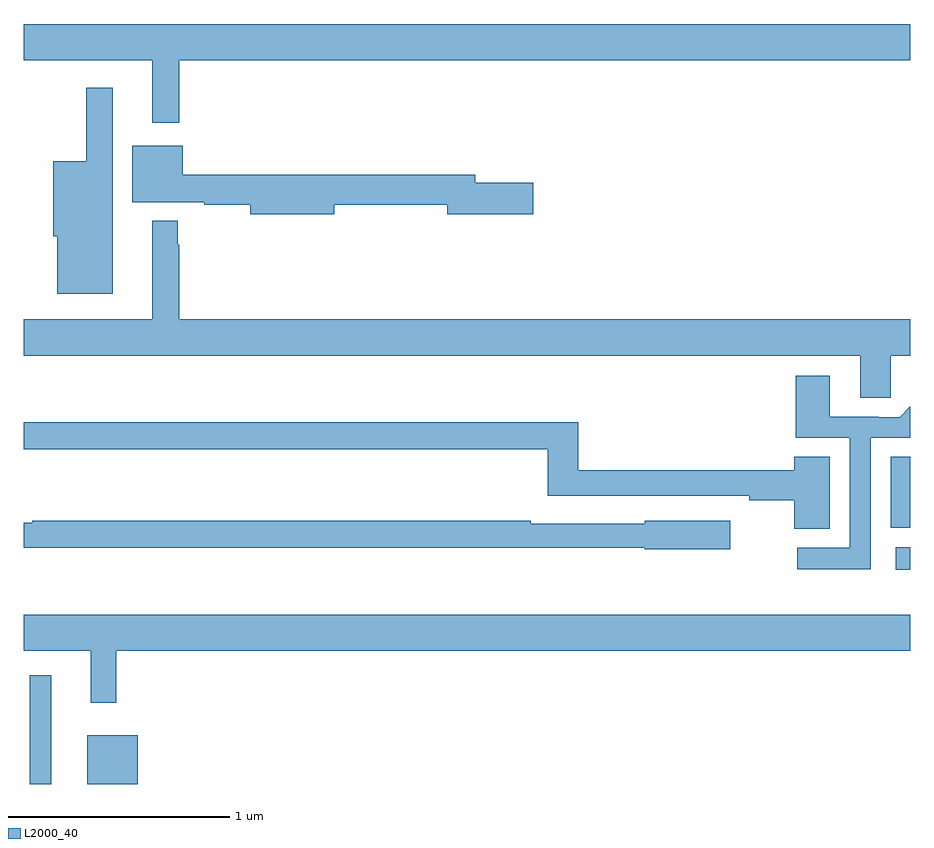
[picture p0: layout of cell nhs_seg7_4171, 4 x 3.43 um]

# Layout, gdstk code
import gdstk
lib = gdstk.Library(unit=1e-6, precision=1e-09)
def R(c, l, rs):  # rectangles x0, y0, x1, y1
    for r in rs: c.add(gdstk.rectangle(r[:2], r[2:], *l))
def P(c, l, *ps):  # polygons
    for p in ps: c.add(gdstk.Polygon(p, *l))
L2000_40 = (2000, 40)

nhs_seg7_4171 = lib.new_cell('nhs_seg7_4171')
R(nhs_seg7_4171, L2000_40, [(375.027,1016,375.124,1016.491), (375.287,1016,375.514,1016.221), (378.933,1016.966,379,1017.067), (378.911,1017.156,379,1017.476)])
P(nhs_seg7_4171, L2000_40, [(375.703,1019.264),(379,1019.264),(379,1019.428),(375,1019.428),(375,1019.264),(375.581,1019.264),(375.581,1018.983),(375.703,1018.983)],
  [(375.403,1019.14),(375.282,1019.14),(375.282,1018.81),(375.134,1018.81),(375.134,1018.47),(375.152,1018.47),(375.152,1018.211),(375.403,1018.211)],
  [(376.402,1018.612),(376.91,1018.612),(376.91,1018.57),(377.299,1018.57),(377.299,1018.712),(377.038,1018.712),(377.038,1018.748),(375.718,1018.748),(375.718,1018.879),(375.491,1018.879),(375.491,1018.625),(375.814,1018.625),(375.814,1018.612),(376.022,1018.612),(376.022,1018.57),(376.402,1018.57)],
  [(378.912,1017.932),(379,1017.932),(379,1018.096),(375.703,1018.096),(375.703,1018.433),(375.696,1018.433),(375.696,1018.54),(375.581,1018.54),(375.581,1018.096),(375,1018.096),(375,1017.932),(378.773,1017.932),(378.773,1017.742),(378.912,1017.742)],
  [(378.822,1017.561),(379,1017.561),(379,1017.703),(378.951,1017.654),(378.857,1017.654),(378.857,1017.657),(378.637,1017.657),(378.637,1017.841),(378.482,1017.841),(378.482,1017.561),(378.726,1017.561),(378.726,1017.066),(378.489,1017.066),(378.489,1016.969),(378.822,1016.969)],
  [(378.637,1017.476),(378.476,1017.476),(378.476,1017.416),(377.501,1017.416),(377.501,1017.631),(375,1017.631),(375,1017.51),(377.365,1017.51),(377.365,1017.3),(378.274,1017.3),(378.274,1017.28),(378.476,1017.28),(378.476,1017.151),(378.637,1017.151)],
  [(378.187,1017.187),(377.802,1017.187),(377.802,1017.174),(377.288,1017.174),(377.288,1017.187),(375.038,1017.187),(375.038,1017.179),(375,1017.179),(375,1017.066),(377.802,1017.066),(377.802,1017.058),(378.187,1017.058)],
  [(375.419,1016.6),(379,1016.6),(379,1016.764),(375,1016.764),(375,1016.6),(375.302,1016.6),(375.302,1016.367),(375.419,1016.367)])

lib.write_gds('nhs_seg7_4171.gds')
